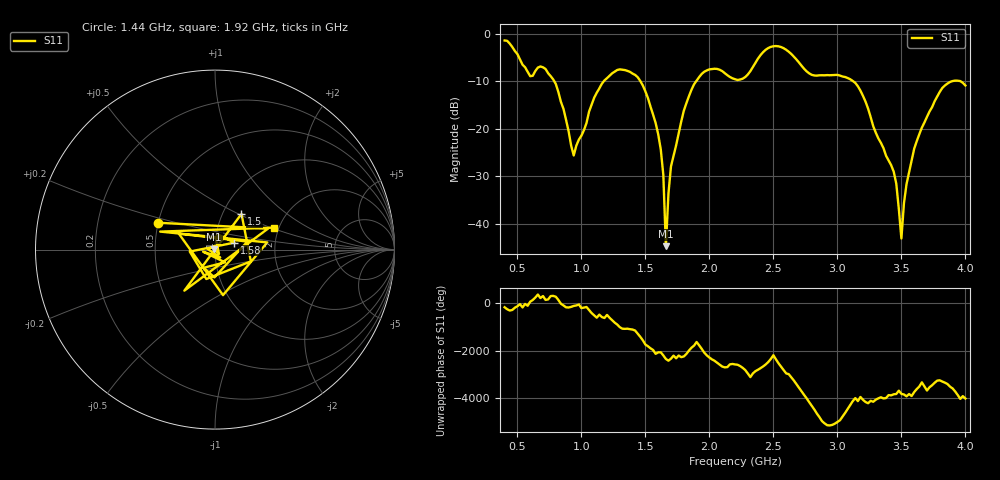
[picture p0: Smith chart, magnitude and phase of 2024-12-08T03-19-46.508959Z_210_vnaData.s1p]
!Created with skrf (http://scikit-rf.org).
# Hz S RI R 50.0
!freq ReS11 ImS11
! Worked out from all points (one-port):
!   181 points, 400 MHz to 4 GHz, reference 50 ohm
!   lowest |S11| = -44.6 dB at 1.66 GHz (marker M1), VSWR 1.01, Z = 49.4 + j0.18 ohm
!   |S11| at or under -10 dB: 788 MHz to 1.175 GHz (386.7 MHz wide, 39.4 % of centre); 1.461 GHz to 1.896 GHz (435.1 MHz wide, 25.9 % of centre); 3.123 GHz to 3.895 GHz (771.8 MHz wide, 22 % of centre) (the widest 3 of 4)
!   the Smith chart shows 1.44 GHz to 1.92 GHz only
!   S11 on the Smith chart (normalised r, x): 1.44 GHz: 0.50, +0.17; 1.5 GHz: 1.23, +0.52; 1.58 GHz: 1.24, +0.10; 1.92 GHz: 1.88, +0.53
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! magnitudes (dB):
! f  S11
! 400 MHz  -1.4
! 600 MHz  -8.9
! 720 MHz  -7.4
! 860 MHz  -15.8
! 940 MHz  -25.6
! 1.12 GHz  -12.4
! 1.3 GHz  -7.5
! 1.44 GHz  -9.1
! 1.5 GHz  -12.1
! 1.58 GHz  -18.8
! 1.64 GHz  -29.7
! 1.66 GHz  -44.6
! 1.68 GHz  -33.6
! 1.7 GHz  -27.9
! 1.76 GHz  -20.9
! 1.92 GHz  -9.1
! 2.2 GHz  -9.6
! 2.48 GHz  -2.8
! 2.66 GHz  -4.8
! 2.8 GHz  -8.6
! 3.1 GHz  -9.6
! 3.44 GHz  -29.0
! 3.5 GHz  -43.0
! 3.52 GHz  -35.6
! 3.56 GHz  -29.1
! 3.64 GHz  -21.1
! 3.8 GHz  -12.2
! 4 GHz  -10.9
